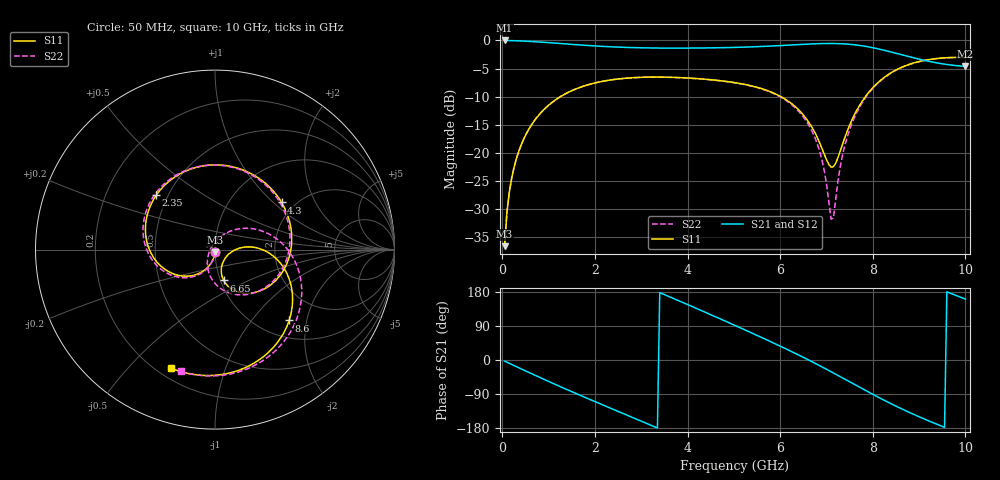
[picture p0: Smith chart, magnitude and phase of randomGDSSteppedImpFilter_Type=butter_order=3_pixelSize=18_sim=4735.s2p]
! freq	dB(S11)	phase(S11)	dB(S12)	phase(S12)
!  dB(S21)	phase(S21)	dB(S22)	phase(S22)
!S-par simulation data
#  GHz  S  DB  R 50
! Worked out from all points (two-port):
!   200 points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, 50 MHz to 10 GHz, reference 50 ohm
!   highest |S21| = -0.01 dB at 50 MHz (marker M1); lowest = -4.6 dB at 10 GHz (marker M2)
!   |S21| within 3 dB of the highest: start of sweep to 8.839 GHz
!   lowest |S11| = -36.6 dB at 50 MHz (marker M3), VSWR 1.03, Z = 49.9 - j1.47 ohm
!   |S11| at or under -10 dB: start of sweep to 1.256 GHz; 6.016 GHz to 7.841 GHz (1.826 GHz wide, 26.4 % of centre)
!   |S22| runs from -36.6 to -3.0 dB; largest |S21 - S12| = 0
!   S11 on the Smith chart (normalised r, x): 50 MHz: 1.00, -0.03; 2.35 GHz: 0.43, +0.33; 4.3 GHz: 1.71, +1.13; 6.65 GHz: 1.04, -0.37; 8.6 GHz: 1.35, -1.58; 10 GHz: 0.25, -0.66
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0.05  -36.61 -92.9  -0.01 -2.9  -0.01 -2.9  -36.57 -92.5
0.1  -30.58 -96.0  -0.01 -5.8  -0.01 -5.8  -30.57 -95.5
0.2  -24.63 -102.0  -0.03 -11.6  -0.03 -11.6  -24.62 -101.3
0.5  -16.91 -120.0  -0.13 -28.7  -0.13 -28.7  -16.90 -118.2
1.1  -10.87 -154.7  -0.45 -62.1  -0.45 -62.1  -10.87 -150.7
1.75  -8.15 169.4  -0.85 -96.8  -0.85 -96.8  -8.15 175.8
2.35  -7.02 137.3  -1.14 -127.9  -1.14 -127.9  -7.02 145.7
3.4  -6.52 82.1  -1.36 177.9  -1.36 177.9  -6.53 93.0
4.3  -6.85 35.3  -1.35 130.4  -1.35 130.4  -6.86 45.7
5.05  -7.55 -2.8  -1.23 89.9  -1.23 89.9  -7.58 4.2
5.8  -9.16 -39.7  -1.00 48.1  -1.00 48.1  -9.24 -39.5
6.65  -14.96 -74.2  -0.63 -2.2  -0.63 -2.2  -15.54 -95.7
6.7  -15.64 -74.9  -0.61 -5.3  -0.61 -5.3  -16.35 -99.7
6.9  -19.14 -71.2  -0.56 -18.0  -0.56 -18.0  -21.17 -119.5
7.15  -22.48 -29.2  -0.55 -34.2  -0.55 -34.2  -31.62 126.2
7.3  -19.61 -2.9  -0.58 -44.1  -0.58 -44.1  -22.34 67.4
7.55  -14.15 4.4  -0.73 -60.8  -0.73 -60.8  -14.76 39.7
7.95  -8.87 -10.2  -1.22 -87.3  -1.22 -87.3  -9.03 9.1
8.35  -5.98 -30.7  -1.96 -112.7  -1.96 -112.7  -6.04 -17.7
8.6  -4.86 -43.7  -2.50 -127.5  -2.50 -127.5  -4.90 -33.2
9.3  -3.30 -78.1  -3.87 -165.3  -3.87 -165.3  -3.31 -71.6
10  -3.04 -110.4  -4.62 160.8  -4.62 160.8  -3.04 -105.7
